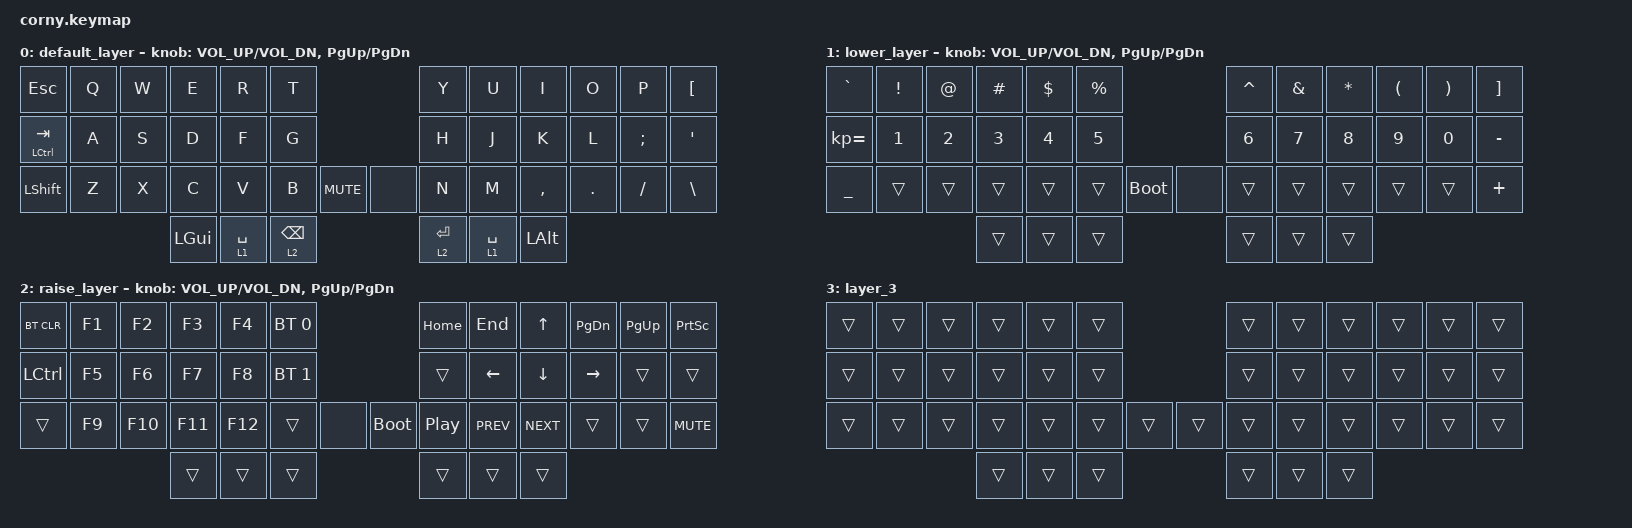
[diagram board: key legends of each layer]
#include <behaviors.dtsi>
#include <dt-bindings/zmk/bt.h>
#include <dt-bindings/zmk/keys.h>

/ {
    keymap {
        compatible = "zmk,keymap";

        default_layer {
            // -------------------------------------------------------------------------------------------------
            // |  TAB |  Q  |  W  |  E  |  R  |  T  |                    |  Y  |  U   |  I  |  O  |  P  | BKSP |
            // | CTRL |  A  |  S  |  D  |  F  |  G  |                    |  H  |  J   |  K  |  L  |  ;  |  '   |
            // | SHFT |  Z  |  X  |  C  |  V  |  B  |  MUTE  |  |        |  N  |  M   |  ,  |  .  |  /  | ESC  |
            //                    | GUI | LWR | SPC |                    | ENT | RSE  | ALT |

            bindings = <
&kp ESCAPE     &kp Q  &kp W  &kp E     &kp R        &kp T                               &kp Y        &kp U        &kp I      &kp O    &kp P     &kp LEFT_BRACKET
&mt LCTRL TAB  &kp A  &kp S  &kp D     &kp F        &kp G                               &kp H        &kp J        &kp K      &kp L    &kp SEMI  &kp SQT
&kp LSHFT      &kp Z  &kp X  &kp C     &kp V        &kp B            &kp C_MUTE  &none  &kp N        &kp M        &kp COMMA  &kp DOT  &kp FSLH  &kp BACKSLASH
                             &kp LGUI  &lt 1 SPACE  &lt 2 BACKSPACE                     &lt 2 ENTER  &lt 1 SPACE  &kp LALT
            >;

            sensor-bindings = <&inc_dec_kp C_VOL_UP C_VOL_DN &inc_dec_kp PG_UP PG_DN>;
        };

        lower_layer {
            // ------------------------------------------------------------------------------------------------
            // |  TAB |  1  |  2  |  3  |  4  |  5  |                    |  6  |  7  |  8  |  9  |  0  | BKSP |
            // | BTCLR| BT1 | BT2 | BT3 | BT4 | BT5 |                    | LFT | DWN |  UP | RGT |     |  F12 |
            // | SHFT | F1  | F2  | F3  | F4  | F5  |  boot  |  |        |  F6 | F7  | F8  | F9  | F10 |  F11 |
            //                    | GUI |     | SPC |                    | ENT |     | ALT |

            bindings = <
&kp GRAVE     &kp EXCLAMATION  &kp AT_SIGN   &kp HASH      &kp DOLLAR    &kp PERCENT                      &kp CARET     &kp AMPERSAND  &kp ASTERISK  &kp LEFT_PARENTHESIS  &kp RIGHT_PARENTHESIS  &kp RIGHT_BRACKET
&kp KP_EQUAL  &kp NUMBER_1     &kp NUMBER_2  &kp NUMBER_3  &kp NUMBER_4  &kp N5                           &kp NUMBER_6  &kp N7         &kp N8        &kp N9                &kp N0                 &kp MINUS
&kp UNDER     &trans           &trans        &trans        &trans        &trans       &bootloader  &none  &trans        &trans         &trans        &trans                &trans                 &kp PLUS
                                             &trans        &trans        &trans                           &trans        &trans         &trans
            >;

            sensor-bindings = <&inc_dec_kp C_VOL_UP C_VOL_DN &inc_dec_kp PG_UP PG_DN>;
        };

        raise_layer {
            // ------------------------------------------------------------------------------------------------
            // |  TAB |  !  |  @  |  #  |  $  |  %  |                    |  ^  |  &  |  *  |  (  |  )  | BKSP |
            // | CTRL |     |     |     |     |     |                    |  -  |  =  |  [  |  ]  |  \  |  `   |
            // | SHFT |     |     |     |     |     |        |  |  boot  |  _  |  +  |  {  |  }  | "|" |  ~   |
            //                    | GUI |     | SPC |                    | ENT |     | ALT |

            bindings = <
&bt BT_CLR  &kp F1  &kp F2   &kp F3   &kp F4   &bt BT_SEL 0                      &kp HOME  &kp END     &kp UP_ARROW  &kp PAGE_DOWN    &kp PG_UP  &kp PRINTSCREEN
&kp LCTRL   &kp F5  &kp F6   &kp F7   &kp F8   &bt BT_SEL 1                      &trans    &kp LEFT    &kp DOWN      &kp RIGHT_ARROW  &trans     &trans
&trans      &kp F9  &kp F10  &kp F11  &kp F12  &trans        &none  &bootloader  &kp C_PP  &kp C_PREV  &kp C_NEXT    &trans           &trans     &kp K_MUTE
                             &trans   &trans   &trans                            &trans    &trans      &trans
            >;

            sensor-bindings = <&inc_dec_kp C_VOL_UP C_VOL_DN &inc_dec_kp PG_UP PG_DN>;
        };

        layer_3 {
            bindings = <
&trans  &trans  &trans  &trans  &trans  &trans                  &trans  &trans  &trans  &trans  &trans  &trans
&trans  &trans  &trans  &trans  &trans  &trans                  &trans  &trans  &trans  &trans  &trans  &trans
&trans  &trans  &trans  &trans  &trans  &trans  &trans  &trans  &trans  &trans  &trans  &trans  &trans  &trans
                        &trans  &trans  &trans                  &trans  &trans  &trans
            >;
        };
    };
};
